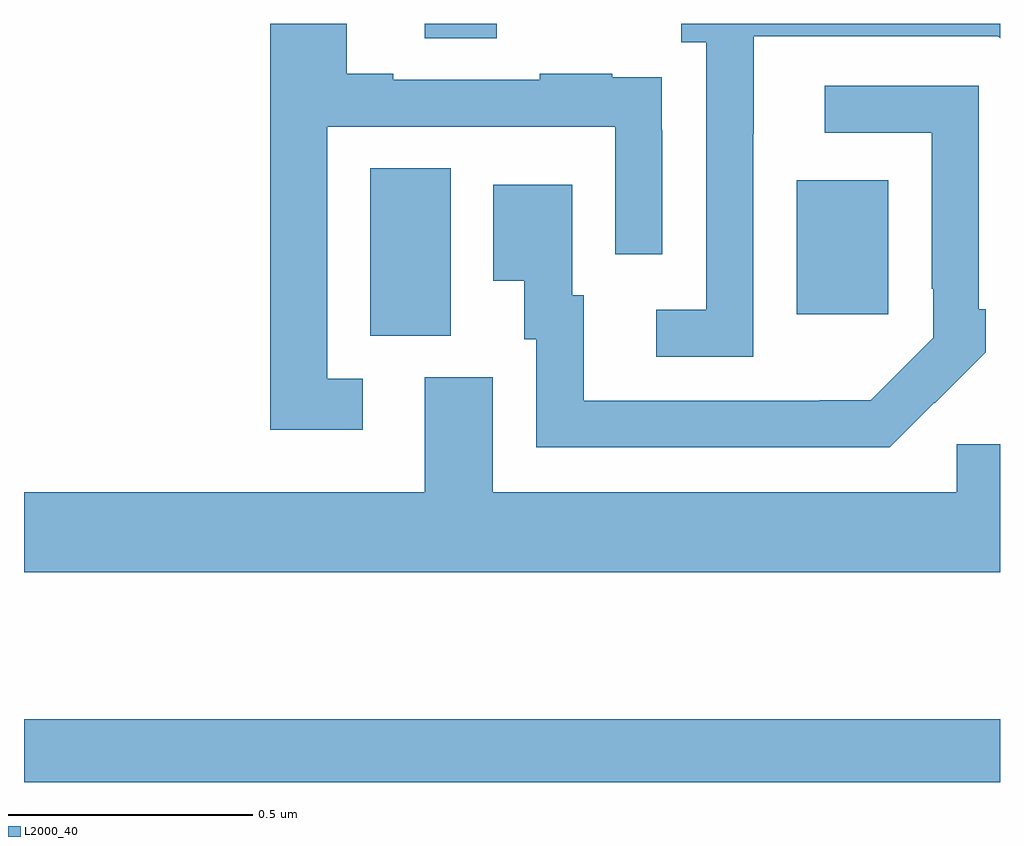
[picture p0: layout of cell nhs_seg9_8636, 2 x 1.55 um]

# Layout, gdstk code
import gdstk
lib = gdstk.Library(unit=1e-6, precision=1e-09)
def R(c, l, rs):  # rectangles x0, y0, x1, y1
    for r in rs: c.add(gdstk.rectangle(r[:2], r[2:], *l))
def P(c, l, *ps):  # polygons
    for p in ps: c.add(gdstk.Polygon(p, *l))
L2000_40 = (2000, 40)

nhs_seg9_8636 = lib.new_cell('nhs_seg9_8636')
R(nhs_seg9_8636, L2000_40, [(219,1239.946,221,1240.075), (219.71,1240.861,219.874,1241.204), (220.583,1240.905,220.771,1241.179), (219.821,1241.47,219.969,1241.5)])
P(nhs_seg9_8636, L2000_40, [(219.694,1240.773),(219.621,1240.773),(219.621,1241.289),(220.212,1241.289),(220.212,1241.028),(220.308,1241.028),(220.308,1241.282),(220.307,1241.282),(220.307,1241.391),(220.205,1241.391),(220.205,1241.398),(220.057,1241.398),(220.057,1241.385),(219.757,1241.385),(219.757,1241.398),(219.661,1241.398),(219.661,1241.5),(219.505,1241.5),(219.505,1240.668),(219.694,1240.668)],
  [(220.494,1241.275),(220.495,1241.275),(220.495,1241.475),(220.995,1241.475),(221,1241.47),(221,1241.5),(220.347,1241.5),(220.347,1241.462),(220.398,1241.462),(220.398,1240.914),(220.296,1240.914),(220.296,1240.818),(220.494,1240.818)],
  [(220.865,1240.723),(220.866,1240.722),(220.971,1240.827),(220.971,1240.915),(220.956,1240.915),(220.956,1241.373),(220.641,1241.373),(220.641,1241.277),(220.86,1241.277),(220.86,1240.957),(220.863,1240.957),(220.863,1240.857),(220.735,1240.729),(220.631,1240.729),(220.631,1240.728),(220.147,1240.728),(220.147,1240.944),(220.123,1240.944),(220.123,1241.17),(219.962,1241.17),(219.962,1240.973),(220.025,1240.973),(220.025,1240.854),(220.05,1240.854),(220.05,1240.632),(220.774,1240.632)],
  [(221,1240.638),(220.911,1240.638),(220.911,1240.54),(219.961,1240.54),(219.961,1240.776),(219.821,1240.776),(219.821,1240.54),(219,1240.54),(219,1240.376),(221,1240.376)])

lib.write_gds('nhs_seg9_8636.gds')
